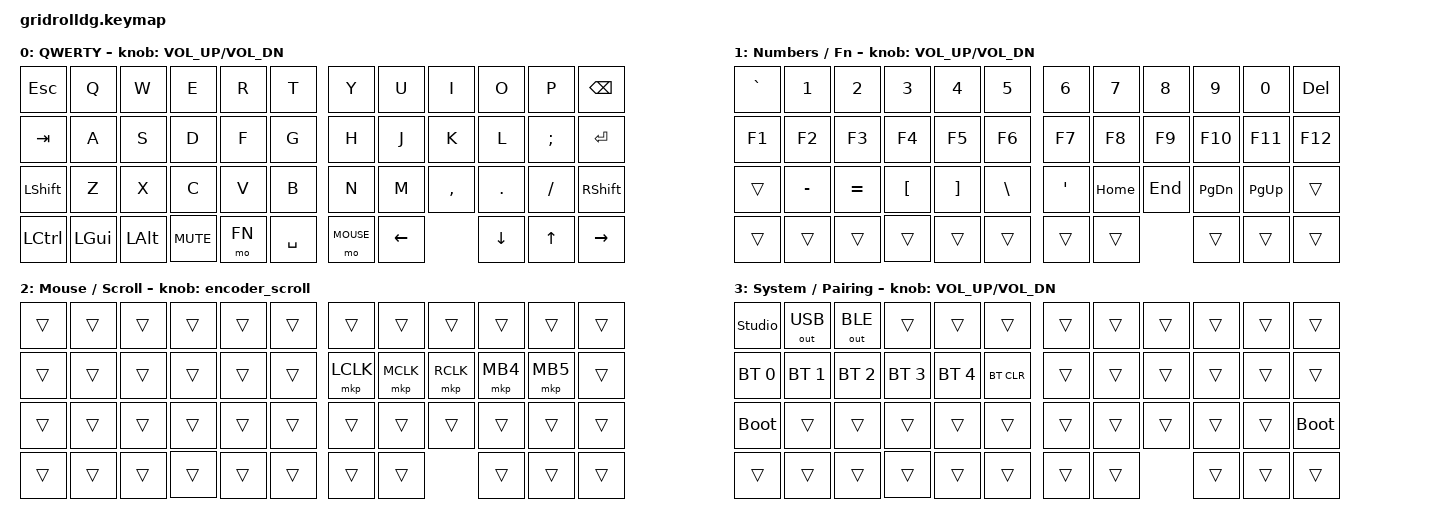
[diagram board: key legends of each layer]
/* SPDX-License-Identifier: MIT */
#include <behaviors.dtsi>
#include <dt-bindings/zmk/keys.h>
#include <dt-bindings/zmk/bt.h>
#include <dt-bindings/zmk/outputs.h>
#include <dt-bindings/zmk/pointing.h>

#define BASE 0
#define FN 1
#define MOUSE 2
#define SYSTEM 3

/ {
    behaviors {
        wheel_up: wheel_up {
            compatible = "wellxx,behavior-wheel";
            #binding-cells = <0>;
            delta = <1>;
            display-name = "Wheel Up";
        };
        wheel_down: wheel_down {
            compatible = "wellxx,behavior-wheel";
            #binding-cells = <0>;
            delta = <(-1)>;
            display-name = "Wheel Down";
        };
        encoder_scroll: encoder_scroll {
            compatible = "zmk,behavior-sensor-rotate";
            #sensor-binding-cells = <0>;
            bindings = <&wheel_up>, <&wheel_down>;
        };
    };
    wheel_up_listener {
        compatible = "zmk,input-listener";
        device = <&wheel_up>;
    };
    wheel_down_listener {
        compatible = "zmk,input-listener";
        device = <&wheel_down>;
    };
    conditional_layers {
        compatible = "zmk,conditional-layers";
        system {
            if-layers = <FN MOUSE>;
            then-layer = <SYSTEM>;
        };
    };
    keymap {
        compatible = "zmk,keymap";
        base {
            display-name = "QWERTY";
            bindings = <
&kp ESC    &kp Q    &kp W     &kp E        &kp R    &kp T       &kp Y      &kp U     &kp I      &kp O    &kp P     &kp BSPC
&kp TAB    &kp A    &kp S     &kp D        &kp F    &kp G       &kp H      &kp J     &kp K      &kp L    &kp SEMI  &kp RET
&kp LSHFT  &kp Z    &kp X     &kp C        &kp V    &kp B       &kp N      &kp M     &kp COMMA  &kp DOT  &kp FSLH  &kp RSHFT
&kp LCTRL  &kp LGUI &kp LALT  &kp C_MUTE   &mo FN   &kp SPACE   &mo MOUSE  &kp LEFT             &kp DOWN &kp UP    &kp RIGHT
            >;
            sensor-bindings = <&inc_dec_kp C_VOL_UP C_VOL_DN>;
        };
        fn {
            display-name = "Numbers / Fn";
            bindings = <
&kp GRAVE  &kp N1    &kp N2    &kp N3    &kp N4    &kp N5     &kp N6    &kp N7    &kp N8    &kp N9    &kp N0    &kp DEL
&kp F1     &kp F2    &kp F3    &kp F4    &kp F5    &kp F6     &kp F7    &kp F8    &kp F9    &kp F10   &kp F11   &kp F12
&trans     &kp MINUS &kp EQUAL &kp LBKT  &kp RBKT  &kp BSLH   &kp SQT   &kp HOME  &kp END   &kp PG_DN &kp PG_UP &trans
&trans     &trans    &trans    &trans    &trans    &trans     &trans    &trans               &trans    &trans    &trans
            >;
            sensor-bindings = <&inc_dec_kp C_VOL_UP C_VOL_DN>;
        };
        mouse {
            display-name = "Mouse / Scroll";
            bindings = <
&trans &trans &trans &trans &trans &trans  &trans       &trans       &trans       &trans       &trans       &trans
&trans &trans &trans &trans &trans &trans  &mkp LCLK    &mkp MCLK    &mkp RCLK    &mkp MB4     &mkp MB5     &trans
&trans &trans &trans &trans &trans &trans  &trans       &trans       &trans       &trans       &trans       &trans
&trans &trans &trans &trans &trans &trans  &trans       &trans                    &trans       &trans       &trans
            >;
            sensor-bindings = <&encoder_scroll>;
        };
        system {
            display-name = "System / Pairing";
            bindings = <
&studio_unlock &out OUT_USB &out OUT_BLE &trans &trans &trans  &trans &trans &trans &trans &trans &trans
&bt BT_SEL 0   &bt BT_SEL 1 &bt BT_SEL 2 &bt BT_SEL 3 &bt BT_SEL 4 &bt BT_CLR  &trans &trans &trans &trans &trans &trans
&bootloader    &trans       &trans       &trans &trans &trans  &trans &trans &trans &trans &trans &bootloader
&trans         &trans       &trans       &trans &trans &trans  &trans &trans               &trans &trans &trans
            >;
            sensor-bindings = <&inc_dec_kp C_VOL_UP C_VOL_DN>;
        };
    };
};
